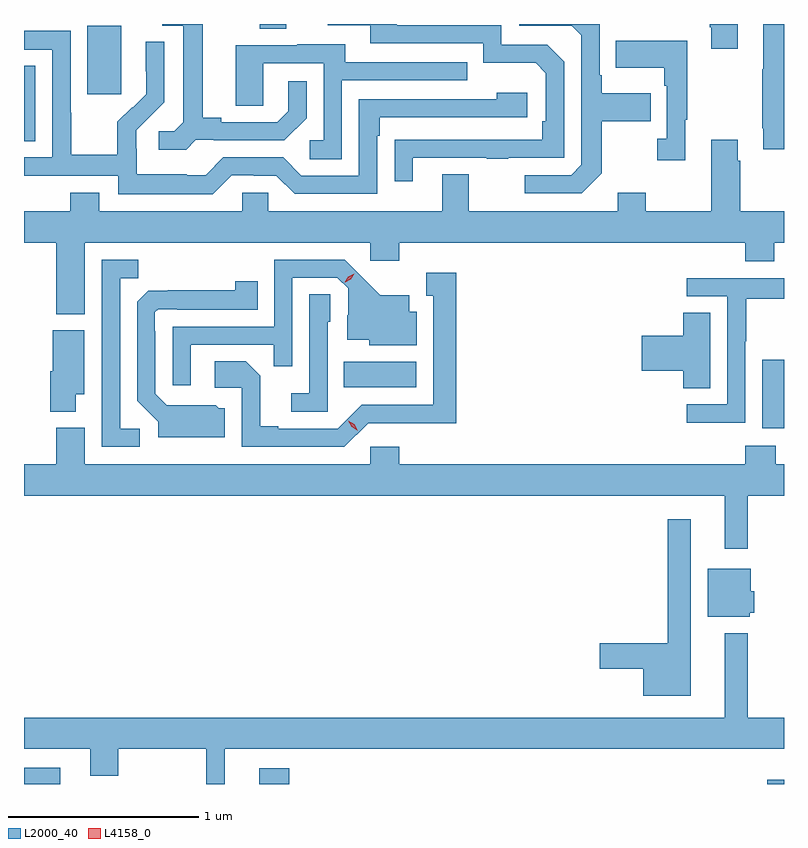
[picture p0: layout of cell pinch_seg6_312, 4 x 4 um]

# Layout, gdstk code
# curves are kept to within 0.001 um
import gdstk
lib = gdstk.Library(unit=1e-6, precision=1e-09)
def R(c, l, rs):  # rectangles x0, y0, x1, y1
    for r in rs: c.add(gdstk.rectangle(r[:2], r[2:], *l))
def P(c, l, *ps):  # polygons
    for p in ps: c.add(gdstk.Polygon(p, *l))
L2000_40 = (2000, 40)
L4158_0 = (4158, 0)

pinch_seg6_312 = lib.new_cell('pinch_seg6_312')
R(pinch_seg6_312, L2000_40, [(638.293,972.458,638.485,972.544), (639.53,972.458,639.689,972.541), (642.206,972.458,642.293,972.481), (642.179,974.33,642.293,974.691), (639.976,974.546,640.357,974.68), (638.293,975.841,638.353,976.238), (638.627,976.089,638.806,976.45), (639.533,976.432,639.673,976.458)])
P(pinch_seg6_312, L2000_40, [(642.049,976.458),(641.902,976.458),(641.902,976.441),(641.909,976.441),(641.909,976.329),(642.049,976.329)],
  [(639.198,975.849),(639.292,975.849),(639.292,975.846),(639.664,975.846),(639.78,975.962),(639.78,976.156),(639.683,976.156),(639.683,975.999),(639.626,975.942),(639.331,975.942),(639.331,975.965),(639.235,975.965),(639.235,976.458),(639.021,976.458),(639.021,976.449),(639.131,976.449),(639.131,975.941),(639.084,975.894),(639.003,975.894),(639.003,975.797),(639.146,975.797)],
  [(641.335,975.673),(641.335,975.946),(641.591,975.946),(641.591,976.093),(641.335,976.093),(641.335,976.189),(641.322,976.189),(641.322,976.458),(640.899,976.458),(640.899,976.449),(641.175,976.449),(641.226,976.398),(641.226,975.717),(641.172,975.663),(640.929,975.663),(640.929,975.567),(641.229,975.567)],
  [(642.293,976.458),(642.185,976.458),(642.185,976.221),(642.178,976.221),(642.178,975.91),(642.185,975.91),(642.185,975.798),(642.293,975.798)],
  [(640.339,975.753),(640.729,975.753),(640.729,975.748),(640.841,975.748),(640.841,975.753),(641.136,975.753),(641.136,976.26),(641.046,976.35),(640.806,976.35),(640.806,976.452),(640.255,976.452),(640.255,976.458),(639.891,976.458),(639.891,976.452),(640.115,976.452),(640.115,976.356),(640.71,976.356),(640.71,976.253),(640.987,976.253),(641.04,976.2),(641.04,975.946),(641.02,975.946),(641.02,975.849),(640.243,975.848),(640.243,975.63),(640.339,975.63)],
  [(639.387,975.663),(639.503,975.663),(639.503,975.66),(639.621,975.66),(639.717,975.564),(640.152,975.564),(640.152,975.869),(640.165,975.869),(640.165,975.966),(640.942,975.966),(640.942,976.096),(640.781,976.096),(640.781,976.062),(640.056,976.062),(640.056,975.66),(639.753,975.66),(639.657,975.756),(639.342,975.756),(639.249,975.663),(639.149,975.663),(639.149,975.667),(638.886,975.667),(638.886,975.801),(638.884,975.801),(638.884,975.898),(639.03,976.046),(639.03,976.364),(638.934,976.364),(638.934,976.21),(638.936,976.21),(638.936,976.088),(638.865,976.017),(638.862,976.02),(638.785,975.943),(638.785,975.769),(638.541,975.769),(638.541,975.992),(638.538,975.992),(638.538,976.422),(638.293,976.422),(638.293,976.323),(638.442,976.323),(638.442,975.756),(638.293,975.756),(638.293,975.66),(638.79,975.66),(638.79,975.563),(639.287,975.563)],
  [(641.773,975.953),(641.785,975.953),(641.785,976.369),(641.407,976.369),(641.407,976.229),(641.664,976.229),(641.664,976.133),(641.676,976.133),(641.676,975.854),(641.625,975.854),(641.625,975.741),(641.773,975.741)],
  [(639.966,976.161),(640.625,976.161),(640.625,976.257),(639.985,976.257),(639.985,976.351),(639.731,976.351),(639.731,976.347),(639.407,976.347),(639.407,976.027),(639.552,976.027),(639.552,976.251),(639.87,976.251),(639.87,975.846),(639.798,975.846),(639.798,975.745),(639.966,975.745)],
  [(638.614,975.308),(640.116,975.308),(640.116,975.213),(640.268,975.213),(640.268,975.308),(642.089,975.308),(642.089,975.209),(642.241,975.209),(642.241,975.308),(642.293,975.308),(642.293,975.472),(642.062,975.472),(642.062,975.737),(642.049,975.737),(642.049,975.85),(641.909,975.85),(641.909,975.472),(641.565,975.472),(641.565,975.571),(641.417,975.571),(641.417,975.472),(640.633,975.472),(640.633,975.667),(640.493,975.667),(640.493,975.472),(639.579,975.472),(639.579,975.57),(639.441,975.57),(639.441,975.472),(638.689,975.472),(638.689,975.571),(638.537,975.571),(638.537,975.472),(638.293,975.472),(638.293,975.308),(638.462,975.308),(638.462,974.93),(638.614,974.93)],
  [(638.902,974.328),(638.799,974.328),(638.799,975.121),(638.895,975.121),(638.895,975.216),(638.703,975.216),(638.703,974.232),(638.902,974.232)],
  [(639.171,974.769),(639.607,974.769),(639.607,974.656),(639.705,974.656),(639.705,975.123),(639.942,975.123),(639.999,975.066),(639.999,974.924),(639.995,974.924),(639.995,974.795),(640.11,974.795),(640.11,974.768),(640.36,974.768),(640.36,974.944),(640.321,974.944),(640.321,975.031),(640.169,975.031),(639.982,975.216),(639.609,975.216),(639.609,974.865),(639.075,974.865),(639.075,974.556),(639.171,974.556)],
  [(640.104,974.358),(640.567,974.357),(640.567,975.148),(640.409,975.148),(640.409,975.027),(640.448,975.027),(640.448,974.454),(640.071,974.454),(639.945,974.328),(639.631,974.328),(639.631,974.341),(639.537,974.341),(639.537,974.608),(639.461,974.684),(639.297,974.684),(639.297,974.544),(639.438,974.544),(639.438,974.232),(639.978,974.232)],
  [(642.09,974.788),(642.093,974.788),(642.093,975.012),(642.293,975.012),(642.293,975.12),(641.781,975.12),(641.781,975.024),(641.994,975.024),(641.994,974.457),(641.781,974.457),(641.781,974.359),(642.09,974.359)],
  [(639.349,974.436),(639.318,974.436),(639.302,974.452),(639.045,974.451),(638.985,974.511),(638.985,974.84),(638.982,974.84),(638.982,974.94),(639,974.958),(639.1,974.958),(639.1,974.955),(639.524,974.955),(639.524,975.103),(639.406,975.103),(639.406,975.056),(638.948,975.055),(638.889,974.996),(638.889,974.474),(638.999,974.364),(638.999,974.282),(639.349,974.282)],
  [(639.891,974.892),(639.906,974.892),(639.906,975.035),(639.795,975.035),(639.795,974.515),(639.699,974.515),(639.699,974.418),(639.891,974.418)],
  [(641.905,974.939),(641.762,974.939),(641.762,974.816),(641.544,974.816),(641.544,974.633),(641.762,974.633),(641.762,974.542),(641.905,974.542)],
  [(638.566,974.51),(638.611,974.51),(638.611,974.845),(638.444,974.845),(638.444,974.631),(638.432,974.631),(638.432,974.417),(638.566,974.417)],
  [(642.103,973.976),(642.293,973.976),(642.293,974.14),(642.249,974.14),(642.249,974.239),(642.089,974.239),(642.089,974.14),(640.268,974.14),(640.268,974.233),(640.116,974.233),(640.116,974.14),(638.614,974.14),(638.614,974.332),(638.462,974.332),(638.462,974.14),(638.293,974.14),(638.293,973.976),(641.981,973.976),(641.981,973.695),(642.103,973.695)],
  [(641.803,973.852),(641.682,973.852),(641.682,973.199),(641.322,973.199),(641.322,973.064),(641.552,973.064),(641.552,972.923),(641.803,972.923)],
  [(642.114,973.359),(642.136,973.359),(642.136,973.473),(642.118,973.473),(642.118,973.591),(641.891,973.591),(641.891,973.337),(642.114,973.337)],
  [(639.35,972.644),(642.293,972.644),(642.293,972.808),(642.103,972.808),(642.103,973.252),(641.981,973.252),(641.981,972.808),(638.293,972.808),(638.293,972.644),(638.642,972.644),(638.642,972.502),(638.79,972.502),(638.79,972.644),(639.251,972.644),(639.251,972.458),(639.35,972.458)])
P(pinch_seg6_312, L4158_0, [(640.049,974.318),(640.018,974.337),(640,974.369),(640,974.369),(640,974.369),(640.032,974.351),(640.05,974.318),(640.05,974.318)],
  [(639.982,975.098),(639.982,975.099),(640,975.129),(640.03,975.144),(640.031,975.144),(640.031,975.144),(640.014,975.114),(639.983,975.098)])

lib.write_gds('pinch_seg6_312.gds')
